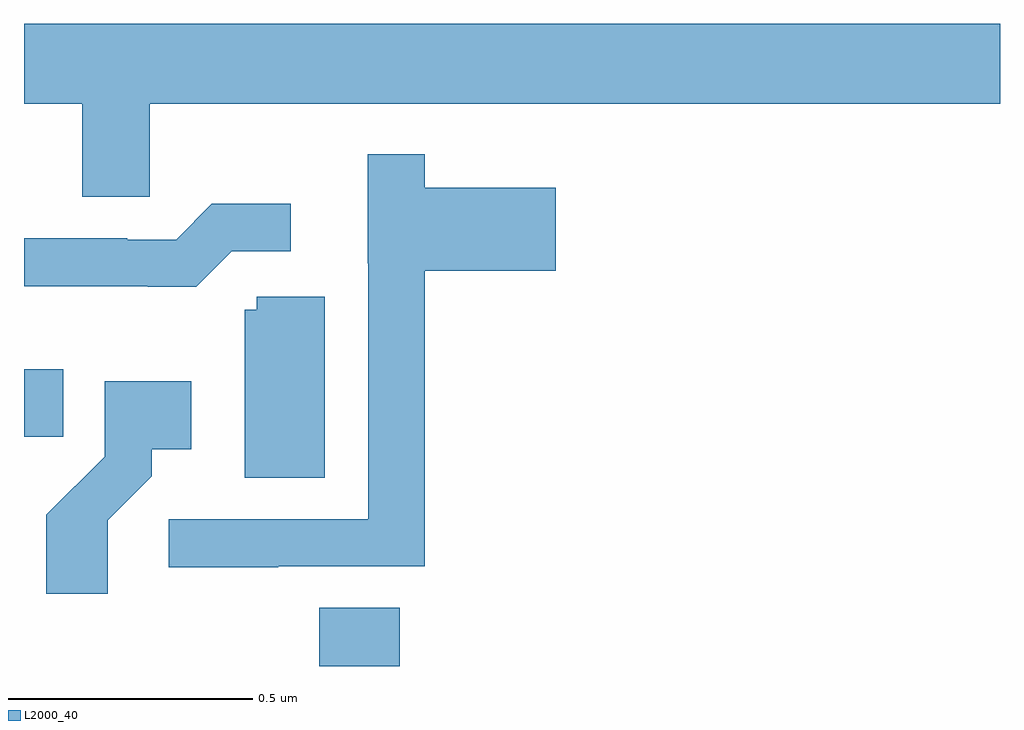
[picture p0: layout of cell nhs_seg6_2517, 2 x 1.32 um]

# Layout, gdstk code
import gdstk
lib = gdstk.Library(unit=1e-6, precision=1e-09)
def R(c, l, rs):  # rectangles x0, y0, x1, y1
    for r in rs: c.add(gdstk.rectangle(r[:2], r[2:], *l))
def P(c, l, *ps):  # polygons
    for p in ps: c.add(gdstk.Polygon(p, *l))
L2000_40 = (2000, 40)

nhs_seg6_2517 = lib.new_cell('nhs_seg6_2517')
R(nhs_seg6_2517, L2000_40, [(144.605,963.5,144.77,963.62), (144,963.97,144.08,964.108)])
P(nhs_seg6_2517, L2000_40, [(144.258,964.652),(146,964.652),(146,964.816),(144,964.816),(144,964.652),(144.119,964.652),(144.119,964.462),(144.258,964.462)],
  [(144.521,963.705),(144.821,963.705),(144.821,964.31),(145.09,964.31),(145.09,964.48),(144.821,964.48),(144.821,964.549),(144.704,964.549),(144.704,964.326),(144.705,964.326),(144.705,963.801),(144.297,963.801),(144.297,963.703),(144.521,963.703)],
  [(144.426,964.35),(144.547,964.35),(144.547,964.447),(144.385,964.447),(144.312,964.374),(144.212,964.374),(144.212,964.377),(144,964.377),(144,964.278),(144.254,964.278),(144.254,964.277),(144.353,964.277)],
  [(144.616,964.257),(144.477,964.257),(144.477,964.23),(144.452,964.23),(144.452,963.886),(144.616,963.886)],
  [(144.172,963.799),(144.262,963.889),(144.262,963.944),(144.343,963.944),(144.343,964.084),(144.165,964.084),(144.165,963.929),(144.046,963.81),(144.046,963.648),(144.172,963.648)])

lib.write_gds('nhs_seg6_2517.gds')
